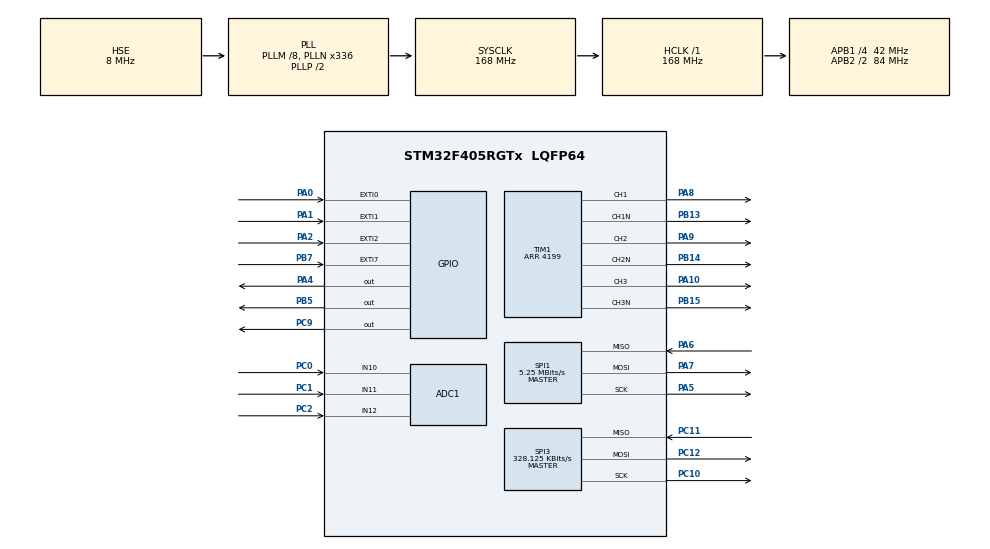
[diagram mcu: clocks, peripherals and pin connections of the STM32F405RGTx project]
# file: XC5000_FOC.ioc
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ADC1.Channel-3\#ChannelRegularConversion=ADC_CHANNEL_10
ADC1.Channel-4\#ChannelInjectedConversion=ADC_CHANNEL_10
ADC1.Channel-5\#ChannelInjectedConversion=ADC_CHANNEL_11
ADC1.Channel-6\#ChannelInjectedConversion=ADC_CHANNEL_12
ADC1.ExternalTrigInjecConv=ADC_EXTERNALTRIGINJECCONV_T1_CC4
ADC1.InjNumberOfConversion=3
ADC1.InjectedOffset-4\#ChannelInjectedConversion=0
ADC1.InjectedOffset-5\#ChannelInjectedConversion=0
ADC1.InjectedOffset-6\#ChannelInjectedConversion=0
ADC1.InjectedRank-4\#ChannelInjectedConversion=1
ADC1.InjectedRank-5\#ChannelInjectedConversion=2
ADC1.InjectedRank-6\#ChannelInjectedConversion=3
ADC1.NbrOfConversionFlag=1
ADC1.Rank-3\#ChannelRegularConversion=1
ADC1.SamplingTime-3\#ChannelRegularConversion=ADC_SAMPLETIME_15CYCLES
ADC1.SamplingTime-4\#ChannelInjectedConversion=ADC_SAMPLETIME_15CYCLES
ADC1.SamplingTime-5\#ChannelInjectedConversion=ADC_SAMPLETIME_15CYCLES
ADC1.SamplingTime-6\#ChannelInjectedConversion=ADC_SAMPLETIME_15CYCLES
ADC1.master=1
Mcu.Family=STM32F4
Mcu.Name=STM32F405RGTx
Mcu.Package=LQFP64
NVIC.ADC_IRQn=true\:0\:0\:false\:false\:true\:true\:true\:true
NVIC.EXTI0_IRQn=true\:0\:0\:false\:false\:true\:true\:true\:true
NVIC.EXTI1_IRQn=true\:0\:0\:false\:false\:true\:true\:true\:true
NVIC.EXTI2_IRQn=true\:0\:0\:false\:false\:true\:true\:true\:true
NVIC.EXTI9_5_IRQn=true\:0\:0\:false\:false\:true\:true\:true\:true
NVIC.PriorityGroup=NVIC_PRIORITYGROUP_4
PA0-WKUP.GPIO_ModeDefaultEXTI=GPIO_MODE_IT_RISING_FALLING
PA0-WKUP.Signal=GPXTI0
PA1.GPIO_ModeDefaultEXTI=GPIO_MODE_IT_RISING_FALLING
PA1.Signal=GPXTI1
PA10.Signal=S_TIM1_CH3
PA13.Mode=Serial_Wire
PA13.Signal=SYS_JTMS-SWDIO
PA14.Mode=Serial_Wire
PA14.Signal=SYS_JTCK-SWCLK
PA2.GPIO_ModeDefaultEXTI=GPIO_MODE_IT_RISING_FALLING
PA2.Signal=GPXTI2
PA4.PinState=GPIO_PIN_SET
PA4.Signal=GPIO_Output
PA5.Mode=Full_Duplex_Master
PA5.Signal=SPI1_SCK
PA6.Mode=Full_Duplex_Master
PA6.Signal=SPI1_MISO
PA7.Mode=Full_Duplex_Master
PA7.Signal=SPI1_MOSI
PA8.Signal=S_TIM1_CH1
PA9.Signal=S_TIM1_CH2
PB13.Mode=PWM Generation1 CH1 CH1N
PB13.Signal=TIM1_CH1N
PB14.Mode=PWM Generation2 CH2 CH2N
PB14.Signal=TIM1_CH2N
PB15.Mode=PWM Generation3 CH3 CH3N
PB15.Signal=TIM1_CH3N
PB5.Signal=GPIO_Output
PB7.GPIO_ModeDefaultEXTI=GPIO_MODE_IT_FALLING
PB7.Signal=GPXTI7
PC0.Signal=ADCx_IN10
PC1.Signal=ADCx_IN11
PC10.Mode=Full_Duplex_Master
PC10.Signal=SPI3_SCK
PC11.Mode=Full_Duplex_Master
PC11.Signal=SPI3_MISO
PC12.Mode=Full_Duplex_Master
PC12.Signal=SPI3_MOSI
PC2.Signal=ADCx_IN12
PC9.PinState=GPIO_PIN_SET
PC9.Signal=GPIO_Output
PH0-OSC_IN.Mode=HSE-External-Oscillator
PH0-OSC_IN.Signal=RCC_OSC_IN
PH1-OSC_OUT.Mode=HSE-External-Oscillator
PH1-OSC_OUT.Signal=RCC_OSC_OUT
ProjectManager.HeapSize=0x200
ProjectManager.StackSize=0x400
ProjectManager.TargetToolchain=MDK-ARM V5.32
RCC.48MHZClocksFreq_Value=84000000
RCC.AHBFreq_Value=168000000
RCC.APB1CLKDivider=RCC_HCLK_DIV4
RCC.APB1Freq_Value=42000000
RCC.APB1TimFreq_Value=84000000
RCC.APB2CLKDivider=RCC_HCLK_DIV2
RCC.APB2Freq_Value=84000000
RCC.APB2TimFreq_Value=168000000
RCC.CortexFreq_Value=168000000
RCC.HCLKFreq_Value=168000000
RCC.HSE_VALUE=8000000
RCC.HSI_VALUE=16000000
RCC.LSE_VALUE=32768
RCC.PLLM=8
RCC.PLLN=336
RCC.PLLSourceVirtual=RCC_PLLSOURCE_HSE
RCC.SYSCLKFreq_VALUE=168000000
RCC.SYSCLKSource=RCC_SYSCLKSOURCE_PLLCLK
RCC.VCOOutputFreq_Value=336000000
SH.ADCx_IN10.0=ADC1_IN10,IN10
SH.ADCx_IN11.0=ADC1_IN11,IN11
SH.ADCx_IN12.0=ADC1_IN12,IN12
SH.S_TIM1_CH1.0=TIM1_CH1,PWM Generation1 CH1 CH1N
SH.S_TIM1_CH2.0=TIM1_CH2,PWM Generation2 CH2 CH2N
SH.S_TIM1_CH3.0=TIM1_CH3,PWM Generation3 CH3 CH3N
SPI1.BaudRatePrescaler=SPI_BAUDRATEPRESCALER_16
SPI1.CLKPhase=SPI_PHASE_2EDGE
SPI1.CalculateBaudRate=5.25 MBits/s
SPI1.DataSize=SPI_DATASIZE_16BIT
SPI1.Direction=SPI_DIRECTION_2LINES
SPI1.Mode=SPI_MODE_MASTER
SPI1.VirtualType=VM_MASTER
SPI3.BaudRatePrescaler=SPI_BAUDRATEPRESCALER_128
SPI3.CLKPhase=SPI_PHASE_2EDGE
SPI3.CLKPolarity=SPI_POLARITY_LOW
SPI3.CalculateBaudRate=328.125 KBits/s
SPI3.DataSize=SPI_DATASIZE_16BIT
SPI3.Direction=SPI_DIRECTION_2LINES
SPI3.Mode=SPI_MODE_MASTER
SPI3.VirtualType=VM_MASTER
TIM1.Channel-PWM\ Generation1\ CH1\ CH1N=TIM_CHANNEL_1
TIM1.Channel-PWM\ Generation2\ CH2\ CH2N=TIM_CHANNEL_2
TIM1.Channel-PWM\ Generation3\ CH3\ CH3N=TIM_CHANNEL_3
TIM1.Channel-PWM\ Generation4\ No\ Output=TIM_CHANNEL_4
TIM1.CounterMode=TIM_COUNTERMODE_CENTERALIGNED1
TIM1.DeadTime=148
TIM1.Period=4199
TIM1.Pulse-PWM\ Generation4\ No\ Output=4099
VP_TIM1_VS_ClockSourceINT.Mode=Internal
VP_TIM1_VS_no_output4.Mode=PWM Generation4 No Output
board=custom

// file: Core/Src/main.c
/* USER CODE BEGIN Header */
/**
  ******************************************************************************
  * @file           : main.c
  * @brief          : Main program body
  ******************************************************************************
  * @attention
  *
  * Copyright (c) 2026 STMicroelectronics.
  * All rights reserved.
  *
  * This software is licensed under terms that can be found in the LICENSE file
  * in the root directory of this software component.
  * If no LICENSE file comes with this software, it is provided AS-IS.
  *
  ******************************************************************************
  */
/* USER CODE END Header */
#include "main.h"
#include "drv8323.h"
#include "foc.h"
#include "math.h"
#include "encoder.h"
#include "debug.h"

ADC_HandleTypeDef hadc1;

SPI_HandleTypeDef hspi1;
SPI_HandleTypeDef hspi3;

TIM_HandleTypeDef htim1;

/* USER CODE BEGIN PV */
  volatile uint32_t over_cnt = 0;

  volatile uint32_t adc_offset[3];//三路零点，初值0
  volatile uint32_t adc_last_read[3];//校准计数器，初值0
  volatile uint32_t adc_ok_count = 0;//ADC采集成功次数

  volatile float foc_ia;
  volatile float foc_ib;
  volatile float foc_ic;

  volatile uint32_t foc_bumb = 0;

  volatile uint32_t enc_continuous_error = 0;

/* USER CODE END PV */

void SystemClock_Config(void);
static void MX_GPIO_Init(void);
static void MX_ADC1_Init(void);
static void MX_SPI3_Init(void);
static void MX_TIM1_Init(void);
static void MX_SPI1_Init(void);
/* USER CODE BEGIN PFP */
void adc_nb_calibrate(void);

/* USER CODE END PFP */

/* USER CODE BEGIN 0 */

/* 输出关断与采样新鲜度保护。运行期使用下列电流阈值，
 * 上电校准使用 foc.h 中的独立阈值；两者均为软件停机阈值。 */
#define MOTOR_SAFETY_CURRENT_A 15.0f
#define MOTOR_SAFETY_STALE_MS 5U
#define MOTOR_SAFETY_RUN_MS 280000U
volatile uint32_t motor_safety_fault = 0U;
volatile uint32_t motor_fault_enc_glitch_count = 0U;
volatile uint32_t motor_fault_enc_zero_reject_count = 0U;
volatile uint32_t motor_fault_enc_valid_count = 0U;
volatile uint32_t motor_stop_request = 0U;
volatile uint32_t motor_safety_active = 0U;
volatile uint32_t motor_nfault_ignored = 0U;
static volatile uint32_t motor_safety_monitor = 0U;
static volatile uint32_t motor_adc_ms, motor_loop_ms, motor_start_ms;
/* Read-only cycle diagnostics for the ADC-synchronous running current loop.
 * Execution maximum covers foc_curr_loop_nb(), not the entire ADC IRQ. */
volatile uint32_t foc_current_loop_count = 0U;
volatile uint32_t foc_current_loop_period_cycles = 0U;
volatile uint32_t foc_current_loop_max_cycles = 0U;
static uint32_t foc_current_loop_last_cycles;
static volatile uint32_t motor_startup_stage = 0U; /* nFAULT snapshot only */
extern volatile uint32_t enc_spi_fail, enc_parity_fail;

void Motor_SafetyStop(uint32_t reason)
{
    uint32_t mask = __get_PRIMASK();
    __disable_irq();
    /* 保留通道使能，利用现有 OIS=0 和 OSSI 强制六路输入低，再关驱动。 */
    if (__HAL_RCC_TIM1_IS_CLK_ENABLED())
        TIM1->BDTR = (TIM1->BDTR | TIM_BDTR_OSSI) & ~TIM_BDTR_MOE;
    __DSB();
    if (motor_safety_fault == 0U)
    {
        /* 停机后主循环仍读编码器，首次故障时先锁存计数供对比。 */
        motor_fault_enc_glitch_count = enc_glitch_count;
        motor_fault_enc_zero_reject_count = enc_zero_reject_count;
        motor_fault_enc_valid_count = enc_valid_count;
        motor_safety_fault = reason;
        if (reason == 2U) drv8323_FaultSnapshotRequest(motor_startup_stage);
    }
    /* Only nFAULT and repeated bumb stops defer ENABLE; PWM is already off. */
    if ((reason != 2U && reason != 10U) || !drv8323_FaultSnapshotPending())
    {
        drv8323_FaultSnapshotAbort();
        if (__HAL_RCC_GPIOB_IS_CLK_ENABLED())
            GPIOB->BSRR = (uint32_t)GPIO_PIN_5 << 16U;
    }
    motor_safety_active = 0U;
    foc_bumb = 1U;
    foc_target_id = foc_target_iq = 0.0f;
    __set_PRIMASK(mask);
}

void Motor_SafetyTick(void)
{
    uint32_t now;
    (void)drv8323_FaultSnapshotPending(); /* 3 ms deadline even after a stop */
    if (!motor_safety_monitor || motor_safety_fault) return;
    if (motor_stop_request) { Motor_SafetyStop(6U); return; }
    if (!(GPIOB->IDR & GPIO_PIN_7)) { Motor_SafetyStop(2U); return; }
    if (foc_bumb) { Motor_SafetyStop(10U); return; }
    if (!motor_safety_active) return;
    now = HAL_GetTick();
    if (now - motor_adc_ms >= MOTOR_SAFETY_STALE_MS ||
        now - motor_loop_ms >= MOTOR_SAFETY_STALE_MS)
        Motor_SafetyStop(5U);
    else if (now - motor_start_ms >= MOTOR_SAFETY_RUN_MS)
        Motor_SafetyStop(7U);
}

void HAL_GPIO_EXTI_Callback(uint16_t pin)
{
    if (pin != GPIO_PIN_7) return;
    if (motor_safety_monitor) Motor_SafetyStop(2U);
    else ++motor_nfault_ignored;
}

/* USER CODE END 0 */

int main(void)
{

  /* MCU Configuration--------------------------------------------------------*/

  /* Reset of all peripherals, Initializes the Flash interface and the Systick. */
  HAL_Init();

  /* Configure the system clock */
  SystemClock_Config();

  /* Initialize all configured peripherals */
  MX_GPIO_Init();
  MX_ADC1_Init();
  MX_SPI3_Init();
  MX_TIM1_Init();
  MX_SPI1_Init();
  /* USER CODE BEGIN 2 */
  Debug_Init();

  drv8323_Init();
  encoder_init();

  /* 原有初始化已完整返回，保留原始 ojBk/寄存器读数；不再发送配置命令。 */
  if (!drv_nb.writeback_ojbk || drv_nb.fault1 || drv_nb.fault2 ||
      !drv_nb.enable || !HAL_GPIO_ReadPin(GPIOB, GPIO_PIN_7))
  {
      Motor_SafetyStop(1U);
  }
  else
  {
      uint32_t mask = __get_PRIMASK();
      __disable_irq();
      __HAL_GPIO_EXTI_CLEAR_IT(GPIO_PIN_7);
      motor_safety_monitor = 1U;
      if (!HAL_GPIO_ReadPin(GPIOB, GPIO_PIN_7)) Motor_SafetyStop(2U);
      __set_PRIMASK(mask);
  }

  if (HAL_TIM_OC_Start(&htim1, TIM_CHANNEL_4) != HAL_OK) Motor_SafetyStop(11U);//ADC触发
  TIM1->BDTR &= ~TIM_BDTR_MOE;
  if (HAL_ADCEx_InjectedStart(&hadc1) != HAL_OK) Motor_SafetyStop(11U);//先启动注入组，供上电零点校准使用

  __HAL_TIM_SET_COMPARE(&htim1, TIM_CHANNEL_1, 2100);
  __HAL_TIM_SET_COMPARE(&htim1, TIM_CHANNEL_2, 2100);
  __HAL_TIM_SET_COMPARE(&htim1, TIM_CHANNEL_3, 2100);

  /* 先在六路 PWM 未开启时完成零偏校准。 */
  {
      uint32_t trigger = ADC1->CR2 & ADC_CR2_JEXTEN;
      ADC1->CR2 &= ~ADC_CR2_JEXTEN;
      adc_nb_calibrate();
      ADC1->CR2 = (ADC1->CR2 & ~ADC_CR2_JEXTEN) | trigger;
  }
  if (adc_ok_count != 1000U ||
      adc_offset[0] < 1000U || adc_offset[0] > 3000U ||
      adc_offset[1] < 1000U || adc_offset[1] > 3000U ||
      adc_offset[2] < 1000U || adc_offset[2] > 3000U)
      Motor_SafetyStop(3U);

  if (!foc_bumb)
  {
      uint32_t errors = enc_spi_fail + enc_parity_fail + enc_sb_count;
      encoder_666_update();
      if (errors != enc_spi_fail + enc_parity_fail + enc_sb_count ||
          !enc_valid ||
          !(enc_deg >= 0.0f && enc_deg < 360.0f)) Motor_SafetyStop(8U);
  }
  if (HAL_ADCEx_InjectedStart_IT(&hadc1) != HAL_OK) Motor_SafetyStop(11U);//之后仅由TIM1_CC4触发，转换完成中断中读取三相电流

  /* 保护与六路启动互斥，避免中断停机后又被后续 HAL_Start 重新开启。 */
  {
      uint32_t mask = __get_PRIMASK();
      uint32_t status = HAL_OK;
      __disable_irq();
      if (!foc_bumb && !motor_stop_request &&
          HAL_GPIO_ReadPin(GPIOB, GPIO_PIN_7) &&
          (__HAL_GPIO_EXTI_GET_IT(GPIO_PIN_7) == RESET))
      {
          motor_startup_stage = 1U;
          status |= HAL_TIM_PWM_Start(&htim1, TIM_CHANNEL_1);
          status |= HAL_TIM_PWM_Start(&htim1, TIM_CHANNEL_2);
          status |= HAL_TIM_PWM_Start(&htim1, TIM_CHANNEL_3);
          status |= HAL_TIMEx_PWMN_Start(&htim1, TIM_CHANNEL_1);
          status |= HAL_TIMEx_PWMN_Start(&htim1, TIM_CHANNEL_2);
          status |= HAL_TIMEx_PWMN_Start(&htim1, TIM_CHANNEL_3);
          motor_startup_stage = 2U;
          if (status != HAL_OK) Motor_SafetyStop(11U);
          else if (!HAL_GPIO_ReadPin(GPIOB, GPIO_PIN_7) ||
                   (__HAL_GPIO_EXTI_GET_IT(GPIO_PIN_7) != RESET))
              Motor_SafetyStop(2U);
          else
          {
              motor_start_ms = motor_adc_ms = motor_loop_ms = HAL_GetTick();
              motor_safety_active = 1U;
          }
      }
      else if (!foc_bumb) Motor_SafetyStop(motor_stop_request ? 6U : 2U);
      __set_PRIMASK(mask);
  }

  /* USER CODE END 2 */

  /* Infinite loop */
  while (1)
  {

    /* USER CODE BEGIN 3 */

    motor_startup_stage = 3U;
    drv8323_FaultSnapshotTask(); /* Before debug/encoder work and repeated stops */
    motor_loop_ms = HAL_GetTick();
    Debug_Task();
    {
        uint32_t errors = enc_spi_fail + enc_parity_fail + enc_sb_count;
        encoder_666_update();

        if(!enc_valid || errors != enc_spi_fail + enc_parity_fail + enc_sb_count)
        {
          enc_continuous_error++;
        }
        else
        {
          enc_continuous_error = 0;
        }

        if(motor_safety_active && enc_continuous_error >= 50)
        {
          Motor_SafetyStop(8U);
        }
        /* Fresh-angle speed tracking stays in foreground, outside the ADC ISR. */
        if (foc_aligned && !foc_bumb && !motorVars_M1.flagEnableAlignment)
        {
          foc_update_speed();
        }

    }

    if (ENC_isCalibrationReady() && !foc_bumb)
    {
        uint32_t mask = __get_PRIMASK();
        __disable_irq();
        TIM1->BDTR = (TIM1->BDTR | TIM_BDTR_OSSI) & ~TIM_BDTR_MOE;
        __DSB();
        motor_safety_active = 0U;
        __set_PRIMASK(mask);
        ENC_saveCalibration();
        mask = __get_PRIMASK();
        __disable_irq();
        motor_adc_ms = motor_loop_ms = HAL_GetTick();
        if (!foc_bumb && !motor_stop_request && foc_aligned &&
            HAL_GPIO_ReadPin(GPIOB, GPIO_PIN_7) &&
            (__HAL_GPIO_EXTI_GET_IT(GPIO_PIN_7) == RESET))
        {
            TIM1->BDTR |= TIM_BDTR_MOE;
            motor_safety_active = 1U;
        }
        else if (!foc_bumb) Motor_SafetyStop(motor_stop_request ? 6U : 2U);
        __set_PRIMASK(mask);
    }
    Motor_SafetyTick();

    if(TIM1->SR & TIM_SR_UIF)
    {

      TIM1->SR = ~TIM_SR_UIF;

      if (foc_bumb)
    {
        Motor_SafetyStop(10U);
        /* 输出已关断；下面仅保留旧 CCR 值，不再依赖 50% 占空比保护。 */
        __HAL_TIM_SET_COMPARE(&htim1, TIM_CHANNEL_1, 2100);
        __HAL_TIM_SET_COMPARE(&htim1, TIM_CHANNEL_2, 2100);
        __HAL_TIM_SET_COMPARE(&htim1, TIM_CHANNEL_3, 2100);   /* 50% 对称零电流 */
        continue;
    }

      if(foc_aligned && !motorVars_M1.flagEnableAlignment)
      {

        static uint32_t spd_tick = 0U;
        uint32_t spd_now = HAL_GetTick();
        if ((uint32_t)(spd_now - spd_tick) >= 2U)
        {
          spd_tick = spd_now;
          foc_pos_loop_nb();
          foc_speed_loop_nb();
        }
      }
      else
      {
        runMotor1Control();

      }

      //安全检测
      if(fabs(foc_ia) > 10.0f || fabs(foc_ib) > 10.0f || fabs(foc_ic) > 10.0f)
    {
      over_cnt++;
      if(over_cnt >= 8)
      {
        foc_target_iq = 0.0f;
        foc_target_id = 0.0f;
        foc_bumb = 1;
        Motor_SafetyStop(4U);
      }

    }
    else
    {
      over_cnt = 0;
    }
    }

    }

  /* USER CODE END 3 */
}

void SystemClock_Config(void)
{
  RCC_OscInitTypeDef RCC_OscInitStruct = {0};
  RCC_ClkInitTypeDef RCC_ClkInitStruct = {0};

  /** Configure the main internal regulator output voltage
  */
  __HAL_RCC_PWR_CLK_ENABLE();
  __HAL_PWR_VOLTAGESCALING_CONFIG(PWR_REGULATOR_VOLTAGE_SCALE1);

  /** Initializes the RCC Oscillators according to the specified parameters
  * in the RCC_OscInitTypeDef structure.
  */
  RCC_OscInitStruct.OscillatorType = RCC_OSCILLATORTYPE_HSE;
  RCC_OscInitStruct.HSEState = RCC_HSE_ON;
  RCC_OscInitStruct.PLL.PLLState = RCC_PLL_ON;
  RCC_OscInitStruct.PLL.PLLSource = RCC_PLLSOURCE_HSE;
  RCC_OscInitStruct.PLL.PLLM = 8;
  RCC_OscInitStruct.PLL.PLLN = 336;
  RCC_OscInitStruct.PLL.PLLP = RCC_PLLP_DIV2;
  RCC_OscInitStruct.PLL.PLLQ = 7;
  if (HAL_RCC_OscConfig(&RCC_OscInitStruct) != HAL_OK)
  {
    Error_Handler();
  }

  /** Initializes the CPU, AHB and APB buses clocks
  */
  RCC_ClkInitStruct.ClockType = RCC_CLOCKTYPE_HCLK|RCC_CLOCKTYPE_SYSCLK
                              |RCC_CLOCKTYPE_PCLK1|RCC_CLOCKTYPE_PCLK2;
  RCC_ClkInitStruct.SYSCLKSource = RCC_SYSCLKSOURCE_PLLCLK;
  RCC_ClkInitStruct.AHBCLKDivider = RCC_SYSCLK_DIV1;
  RCC_ClkInitStruct.APB1CLKDivider = RCC_HCLK_DIV4;
  RCC_ClkInitStruct.APB2CLKDivider = RCC_HCLK_DIV2;

  if (HAL_RCC_ClockConfig(&RCC_ClkInitStruct, FLASH_LATENCY_5) != HAL_OK)
  {
    Error_Handler();
  }
}

static void MX_ADC1_Init(void)
{

  ADC_ChannelConfTypeDef sConfig = {0};
  ADC_InjectionConfTypeDef sConfigInjected = {0};

  /** Configure the global features of the ADC (Clock, Resolution, Data Alignment and number of conversion)
  */
  hadc1.Instance = ADC1;
  hadc1.Init.ClockPrescaler = ADC_CLOCK_SYNC_PCLK_DIV4;
  hadc1.Init.Resolution = ADC_RESOLUTION_12B;
  hadc1.Init.ScanConvMode = ENABLE;
  hadc1.Init.ContinuousConvMode = DISABLE;
  hadc1.Init.DiscontinuousConvMode = DISABLE;
  hadc1.Init.ExternalTrigConvEdge = ADC_EXTERNALTRIGCONVEDGE_NONE;
  hadc1.Init.ExternalTrigConv = ADC_SOFTWARE_START;
  hadc1.Init.DataAlign = ADC_DATAALIGN_RIGHT;
  hadc1.Init.NbrOfConversion = 1;
  hadc1.Init.DMAContinuousRequests = DISABLE;
  hadc1.Init.EOCSelection = ADC_EOC_SINGLE_CONV;
  if (HAL_ADC_Init(&hadc1) != HAL_OK)
  {
    Error_Handler();
  }

  /** Configure for the selected ADC regular channel its corresponding rank in the sequencer and its sample time.
  */
  sConfig.Channel = ADC_CHANNEL_10;
  sConfig.Rank = 1;
  sConfig.SamplingTime = ADC_SAMPLETIME_15CYCLES;
  if (HAL_ADC_ConfigChannel(&hadc1, &sConfig) != HAL_OK)
  {
    Error_Handler();
  }

  /** Configures for the selected ADC injected channel its corresponding rank in the sequencer and its sample time
  */
  sConfigInjected.InjectedChannel = ADC_CHANNEL_10;
  sConfigInjected.InjectedRank = 1;
  sConfigInjected.InjectedNbrOfConversion = 3;
  sConfigInjected.InjectedSamplingTime = ADC_SAMPLETIME_15CYCLES;
  sConfigInjected.ExternalTrigInjecConvEdge = ADC_EXTERNALTRIGINJECCONVEDGE_RISING;
  sConfigInjected.ExternalTrigInjecConv = ADC_EXTERNALTRIGINJECCONV_T1_CC4;
  sConfigInjected.AutoInjectedConv = DISABLE;
  sConfigInjected.InjectedDiscontinuousConvMode = DISABLE;
  sConfigInjected.InjectedOffset = 0;
  if (HAL_ADCEx_InjectedConfigChannel(&hadc1, &sConfigInjected) != HAL_OK)
  {
    Error_Handler();
  }

  /** Configures for the selected ADC injected channel its corresponding rank in the sequencer and its sample time
  */
  sConfigInjected.InjectedChannel = ADC_CHANNEL_11;
  sConfigInjected.InjectedRank = 2;
  if (HAL_ADCEx_InjectedConfigChannel(&hadc1, &sConfigInjected) != HAL_OK)
  {
    Error_Handler();
  }

  /** Configures for the selected ADC injected channel its corresponding rank in the sequencer and its sample time
  */
  sConfigInjected.InjectedChannel = ADC_CHANNEL_12;
  sConfigInjected.InjectedRank = 3;
  if (HAL_ADCEx_InjectedConfigChannel(&hadc1, &sConfigInjected) != HAL_OK)
  {
    Error_Handler();
  }

}

static void MX_SPI1_Init(void)
{

  /* SPI1 parameter configuration*/
  hspi1.Instance = SPI1;
  hspi1.Init.Mode = SPI_MODE_MASTER;
  hspi1.Init.Direction = SPI_DIRECTION_2LINES;
  hspi1.Init.DataSize = SPI_DATASIZE_16BIT;
  hspi1.Init.CLKPolarity = SPI_POLARITY_LOW;
  hspi1.Init.CLKPhase = SPI_PHASE_2EDGE;
  hspi1.Init.NSS = SPI_NSS_SOFT;
  hspi1.Init.BaudRatePrescaler = SPI_BAUDRATEPRESCALER_256;
  hspi1.Init.FirstBit = SPI_FIRSTBIT_MSB;
  hspi1.Init.TIMode = SPI_TIMODE_DISABLE;
  hspi1.Init.CRCCalculation = SPI_CRCCALCULATION_DISABLE;
  hspi1.Init.CRCPolynomial = 10;
  if (HAL_SPI_Init(&hspi1) != HAL_OK)
  {
    Error_Handler();
  }

}

static void MX_SPI3_Init(void)
{

  /* SPI3 parameter configuration*/
  hspi3.Instance = SPI3;
  hspi3.Init.Mode = SPI_MODE_MASTER;
  hspi3.Init.Direction = SPI_DIRECTION_2LINES;
  hspi3.Init.DataSize = SPI_DATASIZE_16BIT;
  hspi3.Init.CLKPolarity = SPI_POLARITY_LOW;
  hspi3.Init.CLKPhase = SPI_PHASE_2EDGE;
  hspi3.Init.NSS = SPI_NSS_SOFT;
  hspi3.Init.BaudRatePrescaler = SPI_BAUDRATEPRESCALER_128;
  hspi3.Init.FirstBit = SPI_FIRSTBIT_MSB;
  hspi3.Init.TIMode = SPI_TIMODE_DISABLE;
  hspi3.Init.CRCCalculation = SPI_CRCCALCULATION_DISABLE;
  hspi3.Init.CRCPolynomial = 10;
  if (HAL_SPI_Init(&hspi3) != HAL_OK)
  {
    Error_Handler();
  }

}

static void MX_TIM1_Init(void)
{

  TIM_ClockConfigTypeDef sClockSourceConfig = {0};
  TIM_MasterConfigTypeDef sMasterConfig = {0};
  TIM_OC_InitTypeDef sConfigOC = {0};
  TIM_BreakDeadTimeConfigTypeDef sBreakDeadTimeConfig = {0};

  htim1.Instance = TIM1;
  htim1.Init.Prescaler = 0;
  htim1.Init.CounterMode = TIM_COUNTERMODE_CENTERALIGNED1;
  htim1.Init.Period = 4199;
  htim1.Init.ClockDivision = TIM_CLOCKDIVISION_DIV1;
  htim1.Init.RepetitionCounter = 0;
  htim1.Init.AutoReloadPreload = TIM_AUTORELOAD_PRELOAD_DISABLE;
  if (HAL_TIM_Base_Init(&htim1) != HAL_OK)
  {
    Error_Handler();
  }
  sClockSourceConfig.ClockSource = TIM_CLOCKSOURCE_INTERNAL;
  if (HAL_TIM_ConfigClockSource(&htim1, &sClockSourceConfig) != HAL_OK)
  {
    Error_Handler();
  }
  if (HAL_TIM_PWM_Init(&htim1) != HAL_OK)
  {
    Error_Handler();
  }
  sMasterConfig.MasterOutputTrigger = TIM_TRGO_RESET;
  sMasterConfig.MasterSlaveMode = TIM_MASTERSLAVEMODE_DISABLE;
  if (HAL_TIMEx_MasterConfigSynchronization(&htim1, &sMasterConfig) != HAL_OK)
  {
    Error_Handler();
  }
  sConfigOC.OCMode = TIM_OCMODE_PWM1;
  sConfigOC.Pulse = 0;
  sConfigOC.OCPolarity = TIM_OCPOLARITY_HIGH;
  sConfigOC.OCNPolarity = TIM_OCNPOLARITY_HIGH;
  sConfigOC.OCFastMode = TIM_OCFAST_DISABLE;
  sConfigOC.OCIdleState = TIM_OCIDLESTATE_RESET;
  sConfigOC.OCNIdleState = TIM_OCNIDLESTATE_RESET;
  if (HAL_TIM_PWM_ConfigChannel(&htim1, &sConfigOC, TIM_CHANNEL_1) != HAL_OK)
  {
    Error_Handler();
  }
  if (HAL_TIM_PWM_ConfigChannel(&htim1, &sConfigOC, TIM_CHANNEL_2) != HAL_OK)
  {
    Error_Handler();
  }
  if (HAL_TIM_PWM_ConfigChannel(&htim1, &sConfigOC, TIM_CHANNEL_3) != HAL_OK)
  {
    Error_Handler();
  }
  sConfigOC.Pulse = 4099;
  if (HAL_TIM_PWM_ConfigChannel(&htim1, &sConfigOC, TIM_CHANNEL_4) != HAL_OK)
  {
    Error_Handler();
  }
  sBreakDeadTimeConfig.OffStateRunMode = TIM_OSSR_DISABLE;
  sBreakDeadTimeConfig.OffStateIDLEMode = TIM_OSSI_DISABLE;
  sBreakDeadTimeConfig.LockLevel = TIM_LOCKLEVEL_OFF;
  sBreakDeadTimeConfig.DeadTime = 148;
  sBreakDeadTimeConfig.BreakState = TIM_BREAK_DISABLE;
  sBreakDeadTimeConfig.BreakPolarity = TIM_BREAKPOLARITY_HIGH;
  sBreakDeadTimeConfig.AutomaticOutput = TIM_AUTOMATICOUTPUT_DISABLE;
  if (HAL_TIMEx_ConfigBreakDeadTime(&htim1, &sBreakDeadTimeConfig) != HAL_OK)
  {
    Error_Handler();
  }
  /* USER CODE BEGIN TIM1_Init 2 */
//__HAL_TIM_SET_COMPARE(&htim1, TIM_CHANNEL_4, 4099);
  /* USER CODE END TIM1_Init 2 */
  HAL_TIM_MspPostInit(&htim1);

}

static void MX_GPIO_Init(void)
{
  GPIO_InitTypeDef GPIO_InitStruct = {0};

  /* GPIO Ports Clock Enable */
  __HAL_RCC_GPIOH_CLK_ENABLE();
  __HAL_RCC_GPIOC_CLK_ENABLE();
  __HAL_RCC_GPIOA_CLK_ENABLE();
  __HAL_RCC_GPIOB_CLK_ENABLE();

  /*Configure GPIO pin Output Level */
  HAL_GPIO_WritePin(GPIOA, GPIO_PIN_4, GPIO_PIN_SET);

  /*Configure GPIO pin Output Level */
  HAL_GPIO_WritePin(GPIOC, GPIO_PIN_9, GPIO_PIN_SET);

  /*Configure GPIO pin Output Level */
  HAL_GPIO_WritePin(GPIOB, GPIO_PIN_5, GPIO_PIN_RESET);

  /*Configure GPIO pins : PA0 PA1 PA2 */
  GPIO_InitStruct.Pin = GPIO_PIN_0|GPIO_PIN_1|GPIO_PIN_2;
  GPIO_InitStruct.Mode = GPIO_MODE_IT_RISING_FALLING;
  GPIO_InitStruct.Pull = GPIO_NOPULL;
  HAL_GPIO_Init(GPIOA, &GPIO_InitStruct);

  /*Configure GPIO pin : PA4 */
  GPIO_InitStruct.Pin = GPIO_PIN_4;
  GPIO_InitStruct.Mode = GPIO_MODE_OUTPUT_PP;
  GPIO_InitStruct.Pull = GPIO_NOPULL;
  GPIO_InitStruct.Speed = GPIO_SPEED_FREQ_LOW;
  HAL_GPIO_Init(GPIOA, &GPIO_InitStruct);

  /*Configure GPIO pin : PC9 */
  GPIO_InitStruct.Pin = GPIO_PIN_9;
  GPIO_InitStruct.Mode = GPIO_MODE_OUTPUT_PP;
  GPIO_InitStruct.Pull = GPIO_NOPULL;
  GPIO_InitStruct.Speed = GPIO_SPEED_FREQ_LOW;
  HAL_GPIO_Init(GPIOC, &GPIO_InitStruct);

  /*Configure GPIO pin : PB5 */
  GPIO_InitStruct.Pin = GPIO_PIN_5;
  GPIO_InitStruct.Mode = GPIO_MODE_OUTPUT_PP;
  GPIO_InitStruct.Pull = GPIO_NOPULL;
  GPIO_InitStruct.Speed = GPIO_SPEED_FREQ_LOW;
  HAL_GPIO_Init(GPIOB, &GPIO_InitStruct);

  /*Configure GPIO pin : PB7 */
  GPIO_InitStruct.Pin = GPIO_PIN_7;
  GPIO_InitStruct.Mode = GPIO_MODE_IT_FALLING;
  GPIO_InitStruct.Pull = GPIO_NOPULL;
  HAL_GPIO_Init(GPIOB, &GPIO_InitStruct);

  /* EXTI interrupt init*/
  HAL_NVIC_SetPriority(EXTI0_IRQn, 0, 0);
  HAL_NVIC_EnableIRQ(EXTI0_IRQn);

  HAL_NVIC_SetPriority(EXTI1_IRQn, 0, 0);
  HAL_NVIC_EnableIRQ(EXTI1_IRQn);

  HAL_NVIC_SetPriority(EXTI2_IRQn, 0, 0);
  HAL_NVIC_EnableIRQ(EXTI2_IRQn);

  HAL_NVIC_SetPriority(EXTI9_5_IRQn, 0, 0);
  HAL_NVIC_EnableIRQ(EXTI9_5_IRQn);

}

/* USER CODE BEGIN 4 */
void HAL_ADCEx_InjectedConvCpltCallback(ADC_HandleTypeDef *hadc)
{
  if(hadc->Instance != ADC1)
  {
    return;
  }

  adc_last_read[0] = HAL_ADCEx_InjectedGetValue(hadc, ADC_INJECTED_RANK_1);
  adc_last_read[1] = HAL_ADCEx_InjectedGetValue(hadc, ADC_INJECTED_RANK_2);
  adc_last_read[2] = HAL_ADCEx_InjectedGetValue(hadc, ADC_INJECTED_RANK_3);

  foc_ia = ((int32_t)adc_last_read[0] - (int32_t)adc_offset[0]) * 0.0403f;
  foc_ib = ((int32_t)adc_last_read[1] - (int32_t)adc_offset[1]) * 0.0403f;
  foc_ic = ((int32_t)adc_last_read[2] - (int32_t)adc_offset[2]) * 0.0403f;
  motor_adc_ms = HAL_GetTick();
  if (motor_safety_active)
  {
      uint8_t aligning = (foc_aligned == 0U);
      float current_limit = aligning ? FOC_ALIGN_CURRENT_LIMIT_A : MOTOR_SAFETY_CURRENT_A;
      uint8_t current_bad = (!(fabsf(foc_ia) <= current_limit) ||
                             !(fabsf(foc_ib) <= current_limit) ||
                             !(fabsf(foc_ic) <= current_limit));
      if (current_bad ||
          adc_last_read[0] < 32U || adc_last_read[0] > 4063U ||
          adc_last_read[1] < 32U || adc_last_read[1] > 4063U ||
          adc_last_read[2] < 32U || adc_last_read[2] > 4063U)
      {
          if (aligning) stopMotorControl(FOC_ALIGN_ERROR_OVERCURRENT);
          Motor_SafetyStop(4U);
          return; /* 关断优先，不能在本次回调后半段再写入校准 PWM。 */
      }
      if (aligning) motor1CtrlISR(foc_ia, foc_ib, foc_ic);
      else if (!foc_bumb && !motorVars_M1.flagEnableAlignment &&
               motorVars_M1.motorState == MOTOR_CL_RUNNING)
      {
          uint32_t started = DWT->CYCCNT;
          uint32_t elapsed;
          if (foc_current_loop_count != 0U)
              foc_current_loop_period_cycles = started - foc_current_loop_last_cycles;
          foc_current_loop_last_cycles = started;

          //电流环放在adc回调执行，避免主循环其他函数影响电流环时序
          foc_curr_loop_nb();

          elapsed = DWT->CYCCNT - started;
          if (elapsed > foc_current_loop_max_cycles) foc_current_loop_max_cycles = elapsed;
          ++foc_current_loop_count;
      }
  }
}

void adc_nb_calibrate(void)
{
     uint32_t sum[3] = {0,0,0};
     uint32_t n = 1000;

     for(uint32_t i = 0; i < n; i++)
     {

      ADC1->CR2 |= ADC_CR2_JSWSTART;

             if(HAL_ADCEx_InjectedPollForConversion(&hadc1, 10) == HAL_OK)
             {
                 sum[0] += HAL_ADCEx_InjectedGetValue(&hadc1, ADC_INJECTED_RANK_1);
                 sum[1] += HAL_ADCEx_InjectedGetValue(&hadc1, ADC_INJECTED_RANK_2);
                 sum[2] += HAL_ADCEx_InjectedGetValue(&hadc1, ADC_INJECTED_RANK_3);

                 adc_ok_count++;
             }

     }

if(adc_ok_count > 0)
{
    adc_offset[0] = sum[0] / adc_ok_count;
    adc_offset[1] = sum[1] / adc_ok_count;
    adc_offset[2] = sum[2] / adc_ok_count;
}

adc_last_read[0] = HAL_ADCEx_InjectedGetValue(&hadc1, ADC_INJECTED_RANK_1);
adc_last_read[1] = HAL_ADCEx_InjectedGetValue(&hadc1, ADC_INJECTED_RANK_2);
adc_last_read[2] = HAL_ADCEx_InjectedGetValue(&hadc1, ADC_INJECTED_RANK_3);

}
/* USER CODE END 4 */

void Error_Handler(void)
{
  /* USER CODE BEGIN Error_Handler_Debug */
  /* User can add his own implementation to report the HAL error return state */
  Motor_SafetyStop(9U);
  __disable_irq();
  while (1)
  {
  }
  /* USER CODE END Error_Handler_Debug */
}
